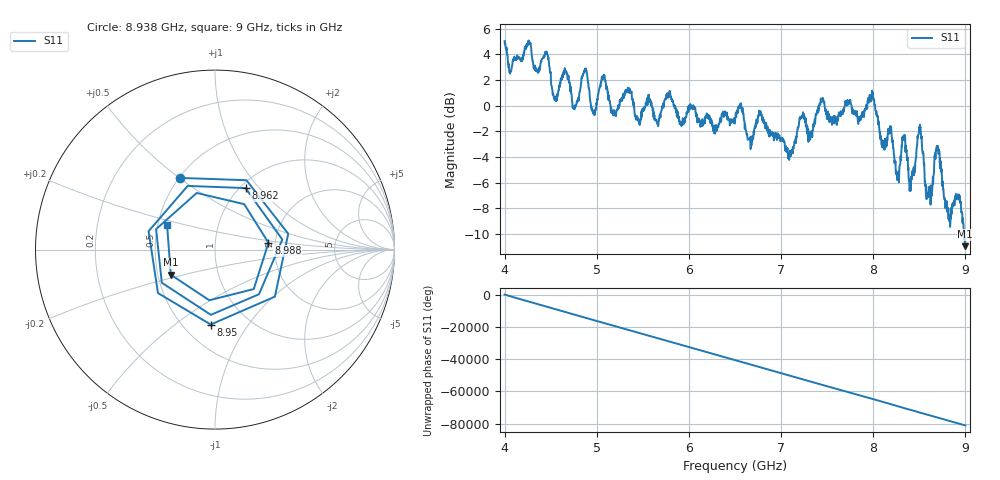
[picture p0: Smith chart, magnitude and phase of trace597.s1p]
! Created with skrf 1.8.0 (http://scikit-rf.org).
# Hz S RI R 50.0
!freq ReS11 ImS11
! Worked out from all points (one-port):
!   1601 points, 4 GHz to 9 GHz, reference 50 ohm
!   lowest |S11| = -11.0 dB at 8.997 GHz (marker M1), VSWR 1.79, Z = 29.2 - j8.89 ohm
!   |S11| at or under -10 dB: 8.982466 GHz to end of sweep
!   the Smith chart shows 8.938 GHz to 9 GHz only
!   S11 on the Smith chart (normalised r, x): 8.938 GHz: 0.50, +0.50; 8.95 GHz: 0.67, -0.68; 8.962 GHz: 1.06, +0.85; 8.988 GHz: 1.84, +0.15; 9 GHz: 0.56, +0.17
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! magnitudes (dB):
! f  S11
! 4 GHz  5.0
! 4.453 GHz  4.0
! 4.547 GHz  0.6
! 4.625 GHz  2.3
! 4.756 GHz  -0.2
! 4.872 GHz  2.8
! 4.962 GHz  -0.4
! 5.069 GHz  2.2
! 5.25 GHz  0.4
! 5.875 GHz  -0.9
! 6.5 GHz  -1.1
! 7.125 GHz  -3.7
! 7.225 GHz  -0.8
! 7.75 GHz  0.4
! 7.988 GHz  1.2
! 8.256 GHz  -5.3
! 8.331 GHz  -2.6
! 8.375 GHz  -4.1
! 8.503 GHz  -2.0
! 8.597 GHz  -7.1
! 8.694 GHz  -3.2
! 8.812 GHz  -8.5
! 8.938 GHz  -7.0
! 8.95 GHz  -7.6
! 8.962 GHz  -8.3
! 8.988 GHz  -10.4
! 8.997 GHz  -11.0
! 9 GHz  -10.5
